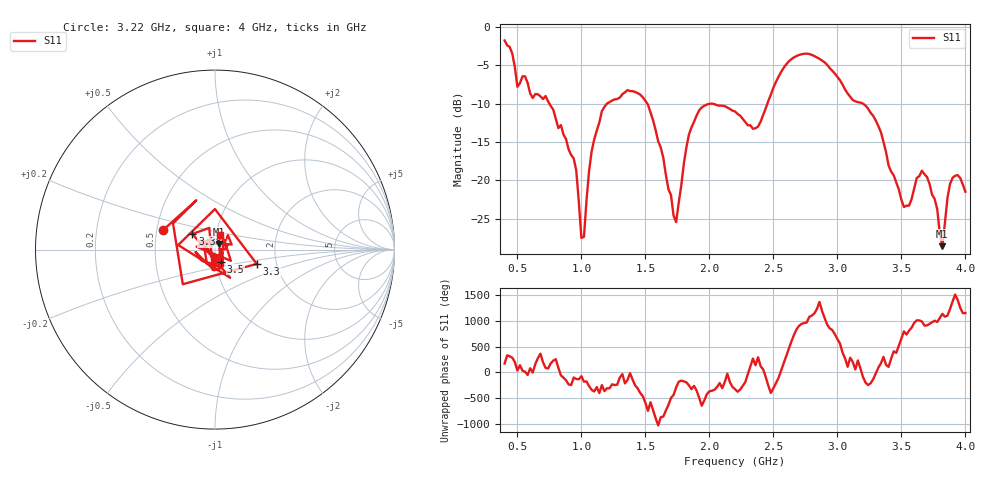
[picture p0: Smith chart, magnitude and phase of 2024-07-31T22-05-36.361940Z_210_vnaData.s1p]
!Created with skrf (http://scikit-rf.org).
# Hz S RI R 50.0
!freq ReS11 ImS11
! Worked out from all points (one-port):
!   181 points, 400 MHz to 4 GHz, reference 50 ohm
!   lowest |S11| = -28.6 dB at 3.82 GHz (marker M1), VSWR 1.08, Z = 52.1 + j3.18 ohm
!   |S11| at or under -10 dB: 750.4 MHz to 1.198 GHz (448.1 MHz wide, 46 % of centre); 1.515 GHz to 2.005 GHz (489.7 MHz wide, 27.8 % of centre); 3.201 GHz to end of sweep (the widest 3 of 4)
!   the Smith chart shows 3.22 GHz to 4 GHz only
!   S11 on the Smith chart (normalised r, x): 3.22 GHz: 0.54, +0.13; 3.3 GHz: 1.58, -0.27; 3.38 GHz: 0.77, +0.14; 3.5 GHz: 1.06, -0.14; 4 GHz: 1.04, +0.17
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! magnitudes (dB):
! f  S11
! 400 MHz  -1.7
! 500 MHz  -7.8
! 720 MHz  -9.0
! 860 MHz  -14.0
! 960 MHz  -18.7
! 1 GHz  -27.5
! 1.02 GHz  -27.4
! 1.06 GHz  -18.8
! 1.1 GHz  -14.7
! 1.3 GHz  -9.2
! 1.52 GHz  -10.1
! 1.72 GHz  -24.6
! 1.76 GHz  -22.9
! 1.84 GHz  -14.0
! 1.92 GHz  -10.9
! 2.2 GHz  -11.0
! 2.38 GHz  -13.0
! 2.66 GHz  -4.0
! 3.1 GHz  -9.1
! 3.22 GHz  -10.2
! 3.3 GHz  -12.2
! 3.38 GHz  -16.3
! 3.5 GHz  -22.5
! 3.56 GHz  -23.3
! 3.7 GHz  -19.5
! 3.82 GHz  -28.6
! 3.9 GHz  -19.7
! 4 GHz  -21.5
